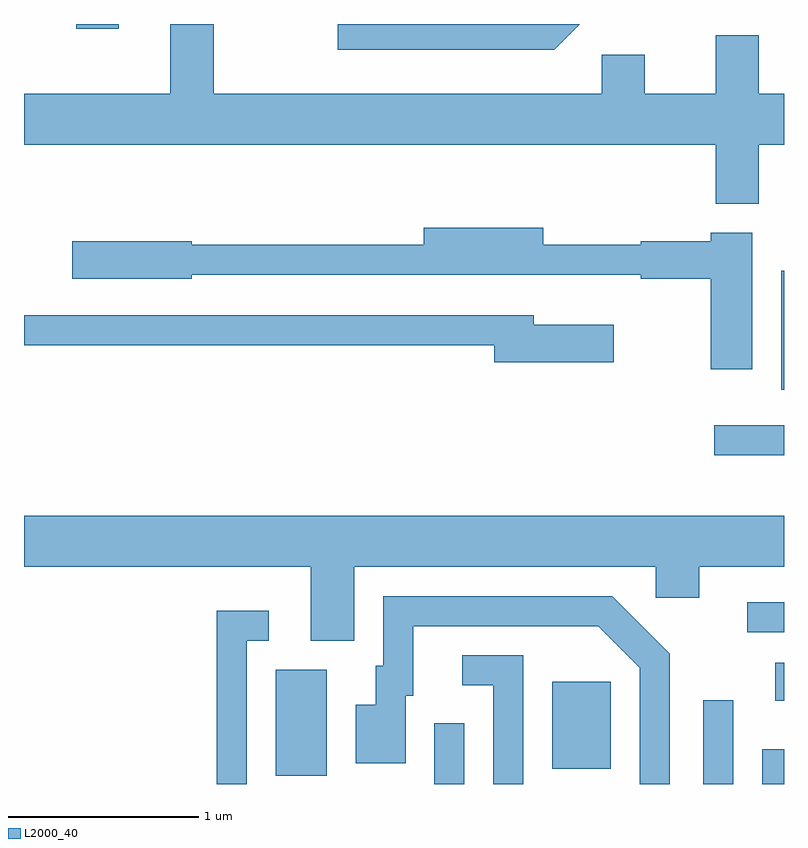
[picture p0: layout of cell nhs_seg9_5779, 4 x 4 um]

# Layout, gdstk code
import gdstk
lib = gdstk.Library(unit=1e-6, precision=1e-09)
def R(c, l, rs):  # rectangles x0, y0, x1, y1
    for r in rs: c.add(gdstk.rectangle(r[:2], r[2:], *l))
def P(c, l, *ps):  # polygons
    for p in ps: c.add(gdstk.Polygon(p, *l))
L2000_40 = (2000, 40)

nhs_seg9_5779 = lib.new_cell('nhs_seg9_5779')
R(nhs_seg9_5779, L2000_40, [(357.771,2008.432,357.929,2008.753), (359.186,2008.432,359.344,2008.873), (359.496,2008.432,359.611,2008.614), (356.936,2008.476,357.204,2009.034), (358.391,2008.511,358.699,2008.969), (359.566,2008.871,359.611,2009.069), (359.418,2009.231,359.611,2009.389), (359.243,2010.161,359.611,2010.319), (359.596,2010.506,359.611,2011.134), (355.886,2012.406,356.109,2012.432)])
P(nhs_seg9_5779, L2000_40, [(358.537,2012.432),(357.263,2012.432),(357.263,2012.296),(358.402,2012.296)],
  [(359.479,2011.796),(359.611,2011.796),(359.611,2012.064),(359.479,2012.064),(359.479,2012.374),(359.251,2012.374),(359.251,2012.064),(358.879,2012.064),(358.879,2012.269),(358.651,2012.269),(358.651,2012.064),(356.609,2012.064),(356.609,2012.432),(356.381,2012.432),(356.381,2012.064),(355.611,2012.064),(355.611,2011.796),(359.251,2011.796),(359.251,2011.486),(359.479,2011.486)],
  [(359.444,2011.334),(359.226,2011.334),(359.226,2011.289),(358.856,2011.289),(358.856,2011.269),(358.344,2011.269),(358.344,2011.359),(357.716,2011.359),(357.716,2011.269),(356.494,2011.269),(356.494,2011.289),(355.866,2011.289),(355.866,2011.091),(356.494,2011.091),(356.494,2011.111),(358.856,2011.111),(358.856,2011.091),(359.226,2011.091),(359.226,2010.616),(359.444,2010.616)],
  [(358.714,2010.849),(358.294,2010.849),(358.294,2010.899),(355.611,2010.899),(355.611,2010.741),(358.086,2010.741),(358.086,2010.651),(358.714,2010.651)],
  [(357.349,2009.576),(358.936,2009.576),(358.936,2009.411),(359.164,2009.411),(359.164,2009.576),(359.611,2009.576),(359.611,2009.844),(355.611,2009.844),(355.611,2009.576),(357.121,2009.576),(357.121,2009.186),(357.349,2009.186)],
  [(359.009,2009.117),(358.707,2009.419),(357.501,2009.419),(357.501,2009.054),(357.461,2009.054),(357.461,2008.849),(357.356,2008.849),(357.356,2008.541),(357.619,2008.541),(357.619,2008.896),(357.659,2008.896),(357.659,2009.261),(358.634,2009.261),(358.851,2009.044),(358.851,2008.432),(359.009,2008.432)],
  [(356.784,2009.186),(356.898,2009.186),(356.898,2009.344),(356.626,2009.344),(356.626,2008.432),(356.784,2008.432)],
  [(358.239,2009.109),(357.918,2009.109),(357.918,2008.951),(358.081,2008.951),(358.081,2008.432),(358.239,2008.432)])

lib.write_gds('nhs_seg9_5779.gds')
